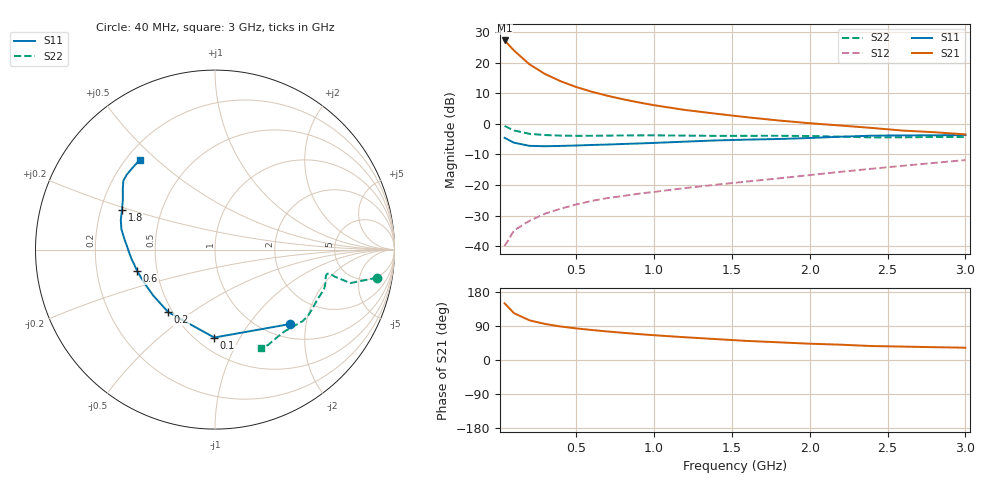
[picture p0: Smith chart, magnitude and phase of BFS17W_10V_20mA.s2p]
! Filename:  BFS17WJ.S2P  Version:  4.0
! Philips part #: BFS17W  Date: Jun 1994
! Bias condition: Vce=10V, Ic=20mA
#  MHz  S  MA  R  50
! Freq  S11  S21  S12  S22  !GUM [dB]
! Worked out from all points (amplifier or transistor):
!   21 points, 40 MHz to 3 GHz, reference 50 ohm
!   highest |S21| = 27.2 dB at 40 MHz (marker M1)
!   |S21| within 3 dB of that: start of sweep to 94.96 MHz
!   unconditionally stable (mu >= 1): 318.1 MHz to 2.248 GHz
!   at 300 MHz: K = 0.98, MSG = 22.8 dB, |S12| = -29.4 dB
!   at 1 GHz: K = 1.23, MAG = 11.3 dB, |S12| = -22.3 dB
!   at 3 GHz: K = 0.94, MSG = 4.2 dB, |S12| = -11.9 dB
!   S11 on the Smith chart (normalised r, x): 40 MHz: 1.28, -1.62; 100 MHz: 0.61, -0.78; 200 MHz: 0.47, -0.41; 600 MHz: 0.39, -0.11; 1.8 GHz: 0.29, +0.19; 3 GHz: 0.25, +0.44
40  0.588 -44.9  22.92 149.6  0.01 71.7  0.918 -9.8
100  0.49 -90.5  15.72 123.6  0.018 59.8  0.777 -13.9
200  0.435 -126.9  9.326 104.6  0.026 59.7  0.683 -12.7
300  0.429 -143.5  6.485 95.1  0.034 61.7  0.653 -11.8
400  0.434 -153.4  4.944 88.4  0.041 63.9  0.64 -12.1
500  0.441 -159.7  3.976 83.4  0.048 65.5  0.635 -13.1
600  0.45 -164.8  3.333 79.2  0.055 67.1  0.636 -14.3
700  0.457 -169.2  2.865 75.3  0.061 68.5  0.639 -15.6
800  0.467 -173.2  2.512 71.8  0.066 69.7  0.643 -17.0
900  0.476 -177.0  2.233 68.4  0.072 70.9  0.645 -18.2
1000  0.486 179.3  2.007 65.4  0.077 72.3  0.646 -19.6
1200  0.51 172.9  1.677 60.0  0.089 75.2  0.64 -22.8
1400  0.534 167.6  1.456 55.1  0.101 78.6  0.634 -27.0
1600  0.55 162.6  1.274 50.3  0.114 81.6  0.635 -31.7
1800  0.563 157.0  1.13 46.7  0.128 84.6  0.636 -35.6
2000  0.585 151.3  1.019 43.0  0.145 87.1  0.63 -39.3
2200  0.614 146.8  0.934 40.4  0.164 88.9  0.613 -43.9
2400  0.638 143.2  0.853 36.8  0.184 90.1  0.598 -49.8
2600  0.645 139.9  0.772 35.4  0.206 90.7  0.6 -56.0
2800  0.647 135.4  0.727 33.8  0.229 91.0  0.608 -60.9
3000  0.653 129.9  0.669 32.5  0.255 91.0  0.606 -64.7
